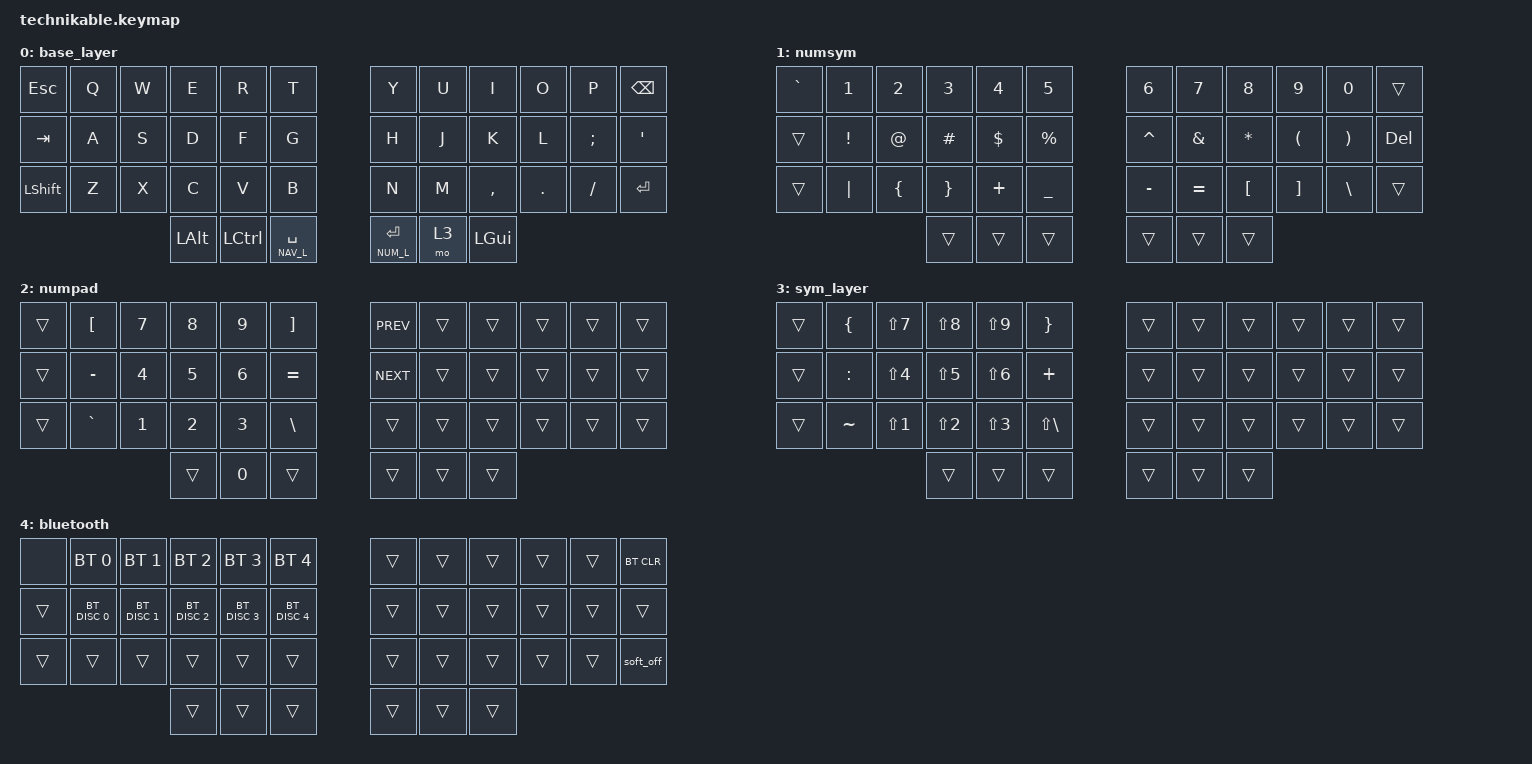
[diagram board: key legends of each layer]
/*
 * Copyright (c) 2022 Pete Johanson
 *
 * SPDX-License-Identifier: MIT
 */

#include <behaviors.dtsi>
#include <dt-bindings/zmk/bt.h>
#include <dt-bindings/zmk/keys.h>

#define BAS_L 0
#define NAV_L 1
#define NUM_L 2
#define SYM_L 3

// Using layer taps on thumbs, having quick tap as well helps w/ repeating space/backspace

&lt { quick_tap_ms = <200>; };

/ {
    chosen { zmk,matrix_transform = &dual_2u_transform; };

    conditional_layers {
        compatible = "zmk,conditional-layers";

        bluetooth {
            if-layers = <1 2>;
            then-layer = <4>;
        };
    };

    keymap {
        compatible = "zmk,keymap";

        base_layer {
            bindings = <
&kp ESC    &kp Q  &kp W     &kp E      &kp R            &kp T                   &kp Y  &kp U  &kp I      &kp O    &kp P     &kp BACKSPACE
&kp TAB    &kp A  &kp S     &kp D      &kp F            &kp G                   &kp H  &kp J  &kp K      &kp L    &kp SEMI  &kp APOS
&kp LSHFT  &kp Z  &kp X     &kp C      &kp V            &kp B                   &kp N  &kp M  &kp COMMA  &kp DOT  &kp FSLH  &kp RET
                  &kp LALT  &kp LCTRL  &lt NAV_L SPACE         &lt NUM_L ENTER         &mo 3  &kp LGUI
            >;
        };

        numsym {
            bindings = <
&kp GRAVE  &kp N1    &kp N2    &kp N3    &kp N4    &kp N5             &kp N6     &kp N7     &kp N8    &kp N9    &kp N0    &trans
&trans     &kp EXCL  &kp AT    &kp HASH  &kp DLLR  &kp PRCNT          &kp CARET  &kp AMPS   &kp STAR  &kp LPAR  &kp RPAR  &kp DEL
&trans     &kp PIPE  &kp LBRC  &kp RBRC  &kp PLUS  &kp UNDER          &kp MINUS  &kp EQUAL  &kp LBKT  &kp RBKT  &kp BSLH  &trans
                     &trans    &trans    &trans               &trans             &trans &trans
            >;
        };

        numpad {
            bindings = <
&trans  &kp LBKT   &kp N7  &kp N8  &kp N9  &kp RBKT           &kp C_PREV  &trans  &trans  &trans  &trans  &trans
&trans  &kp MINUS  &kp N4  &kp N5  &kp N6  &kp EQUAL          &kp C_NEXT  &trans  &trans  &trans  &trans  &trans
&trans  &kp GRAVE  &kp N1  &kp N2  &kp N3  &kp BSLH           &trans      &trans  &trans  &trans  &trans  &trans
                   &trans  &kp N0  &trans             &trans              &trans  &trans
            >;
        };

        sym_layer {
            bindings = <
&trans  &kp LBRC   &kp LS(N7)  &kp LS(N8)  &kp LS(N9)  &kp RBRC              &trans  &trans  &trans  &trans  &trans  &trans
&trans  &kp COLON  &kp LS(N4)  &kp LS(N5)  &kp LS(N6)  &kp PLUS              &trans  &trans  &trans  &trans  &trans  &trans
&trans  &kp TILDE  &kp LS(N1)  &kp LS(N2)  &kp LS(N3)  &kp LS(BSLH)          &trans  &trans  &trans  &trans  &trans  &trans
                   &trans      &trans      &trans                    &trans          &trans  &trans
            >;
        };

        bluetooth {
            bindings = <
&none   &bt BT_SEL 0   &bt BT_SEL 1   &bt BT_SEL 2   &bt BT_SEL 3   &bt BT_SEL 4           &trans  &trans  &trans  &trans  &trans  &bt BT_CLR
&trans  &bt BT_DISC 0  &bt BT_DISC 1  &bt BT_DISC 2  &bt BT_DISC 3  &bt BT_DISC 4          &trans  &trans  &trans  &trans  &trans  &trans
&trans  &trans         &trans         &trans         &trans         &trans                 &trans  &trans  &trans  &trans  &trans  &soft_off
                       &trans         &trans         &trans                        &trans          &trans  &trans
            >;
        };
    };
};
